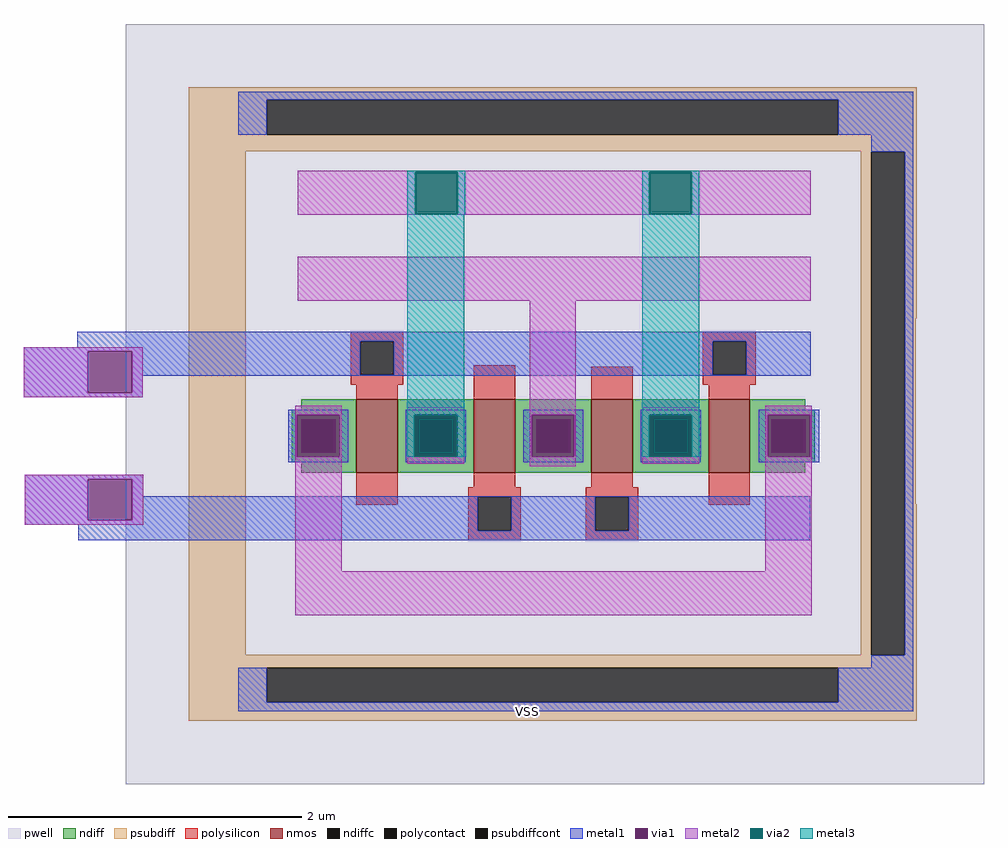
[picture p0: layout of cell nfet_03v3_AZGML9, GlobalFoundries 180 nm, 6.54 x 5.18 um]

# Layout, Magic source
magic
tech gf180mcuD
magscale 1 10
<< pwell >>
rect -582 -474 587 561
<< nmos >>
rect -268 -50 -212 50
rect -108 -50 -52 50
rect 52 -50 108 50
rect 212 -50 268 50
<< ndiff >>
rect -343 36 -268 50
rect -356 23 -268 36
rect -356 -23 -343 23
rect -297 -23 -268 23
rect -356 -36 -268 -23
rect -343 -50 -268 -36
rect -212 23 -108 50
rect -212 -23 -183 23
rect -137 -23 -108 23
rect -212 -50 -108 -23
rect -52 23 52 50
rect -52 -23 -23 23
rect 23 -23 52 23
rect -52 -50 52 -23
rect 108 23 212 50
rect 108 -23 137 23
rect 183 -23 212 23
rect 108 -50 212 -23
rect 268 36 343 50
rect 268 23 356 36
rect 268 -23 297 23
rect 343 -23 356 23
rect 268 -36 356 -23
rect 268 -50 343 -36
<< ndiffc >>
rect -343 -23 -297 23
rect -183 -23 -137 23
rect -23 -23 23 23
rect 137 -23 183 23
rect 297 -23 343 23
<< psubdiff >>
rect -496 458 495 475
rect -496 410 -390 458
rect 388 410 495 458
rect -496 388 495 410
rect -496 -298 -419 388
rect 419 387 495 388
rect 419 -298 433 387
rect -496 -299 433 -298
rect 479 160 495 387
rect 479 -93 494 160
rect 479 -299 495 -93
rect -496 -316 495 -299
rect -496 -363 -390 -316
rect 388 -363 495 -316
rect -496 -388 495 -363
<< psubdiffcont >>
rect -390 410 388 458
rect 433 -299 479 387
rect -390 -363 388 -316
<< polysilicon >>
rect -276 129 -204 142
rect -276 83 -263 129
rect -217 83 -204 129
rect 204 129 276 142
rect -276 70 -204 83
rect -268 50 -212 70
rect -108 50 -52 96
rect 52 50 108 94
rect 204 83 217 129
rect 263 83 276 129
rect 204 70 276 83
rect 212 50 268 70
rect -268 -94 -212 -50
rect -108 -70 -52 -50
rect 52 -70 108 -50
rect -116 -83 -44 -70
rect -116 -129 -103 -83
rect -57 -129 -44 -83
rect -116 -142 -44 -129
rect 44 -83 116 -70
rect 44 -129 57 -83
rect 103 -129 116 -83
rect 212 -94 268 -50
rect 44 -142 116 -129
<< polycontact >>
rect -263 83 -217 129
rect 217 83 263 129
rect -103 -129 -57 -83
rect 57 -129 103 -83
<< metal1 >>
rect -429 458 490 469
rect -429 410 -390 458
rect 388 410 490 458
rect 433 387 490 410
rect -648 129 351 142
rect -648 121 -263 129
rect -721 115 -263 121
rect -721 59 -634 115
rect -573 83 -263 115
rect -217 83 217 129
rect 263 83 351 129
rect -573 82 351 83
rect -573 59 -559 82
rect -721 53 -559 59
rect -361 29 -279 36
rect -361 -28 -349 29
rect -291 -28 -279 29
rect -361 -36 -279 -28
rect -201 29 -119 36
rect -201 -28 -189 29
rect -131 -28 -119 29
rect -201 -36 -119 -28
rect -41 29 41 36
rect -41 -28 -29 29
rect 29 -28 41 29
rect -41 -36 41 -28
rect 119 29 201 36
rect 119 -28 131 29
rect 189 -28 201 29
rect 119 -36 201 -28
rect 280 29 362 36
rect 280 -28 292 29
rect 350 -28 362 29
rect 280 -36 362 -28
rect -720 -59 -558 -53
rect -720 -115 -634 -59
rect -573 -82 -558 -59
rect -573 -83 350 -82
rect -573 -115 -103 -83
rect -720 -121 -103 -115
rect -647 -129 -103 -121
rect -57 -129 57 -83
rect 103 -129 350 -83
rect -647 -142 350 -129
rect 479 -299 490 387
rect 433 -316 490 -299
rect -429 -363 -390 -316
rect 388 -363 490 -316
rect -429 -375 490 -363
<< via1 >>
rect -634 59 -573 115
rect -349 23 -291 29
rect -349 -23 -343 23
rect -343 -23 -297 23
rect -297 -23 -291 23
rect -349 -28 -291 -23
rect -189 23 -131 29
rect -189 -23 -183 23
rect -183 -23 -137 23
rect -137 -23 -131 23
rect -189 -28 -131 -23
rect -29 23 29 29
rect -29 -23 -23 23
rect -23 -23 23 23
rect 23 -23 29 23
rect -29 -28 29 -23
rect 131 23 189 29
rect 131 -23 137 23
rect 137 -23 183 23
rect 183 -23 189 23
rect 131 -28 189 -23
rect 292 23 350 29
rect 292 -23 297 23
rect 297 -23 343 23
rect 343 -23 350 23
rect 292 -28 350 -23
rect -634 -115 -573 -59
<< metal2 >>
rect -348 359 351 361
rect -348 302 -188 359
rect -130 302 131 359
rect 189 302 351 359
rect -348 301 351 302
rect -348 184 351 244
rect -721 115 -559 121
rect -721 59 -634 115
rect -573 59 -559 115
rect -721 53 -559 59
rect -351 29 -288 41
rect -351 -28 -349 29
rect -291 -28 -288 29
rect -720 -59 -558 -53
rect -720 -115 -634 -59
rect -573 -115 -558 -59
rect -720 -121 -558 -115
rect -351 -184 -288 -28
rect -199 29 -121 39
rect -199 -28 -189 29
rect -131 -28 -121 29
rect -199 -38 -121 -28
rect -32 29 31 184
rect -32 -28 -29 29
rect 29 -28 31 29
rect -32 -41 31 -28
rect 121 29 199 39
rect 121 -28 131 29
rect 189 -28 199 29
rect 121 -38 199 -28
rect 289 29 352 41
rect 289 -28 292 29
rect 350 -28 352 29
rect 289 -184 352 -28
rect -351 -244 352 -184
<< via2 >>
rect -188 302 -130 359
rect 131 302 189 359
rect -189 -28 -131 29
rect 131 -28 189 29
<< metal3 >>
rect -199 359 -120 361
rect -199 302 -188 359
rect -130 302 -120 359
rect -199 301 -120 302
rect 121 359 199 361
rect 121 302 131 359
rect 189 302 199 359
rect -199 29 -121 301
rect -199 -28 -189 29
rect -131 -28 -121 29
rect 121 29 199 302
rect 121 -28 131 29
rect 189 -28 199 29
<< labels >>
rlabel metal1 -35 -375 -35 -375 1 VSS
port 2 n
<< properties >>
string FIXED_BBOX -458 -200 458 200
string gencell nfet_03v3
string library gf180mcu
string nfet_03v3_AZGML9 parameters
string parameters w 0.5 l 0.280 m 1 nf 4 diffcov 60 polycov 100 guard 1 glc 1 grc 1 gtc 0 gbc 0 tbcov 100 rlcov 100 topc 1 botc 1 poverlap 0 doverlap 1 lmin 0.28 wmin 0.22 class mosfet full_metal 0 compatible {nfet_03v3 nfet_06v0 nfet_06v0_nvt}
<< end >>
